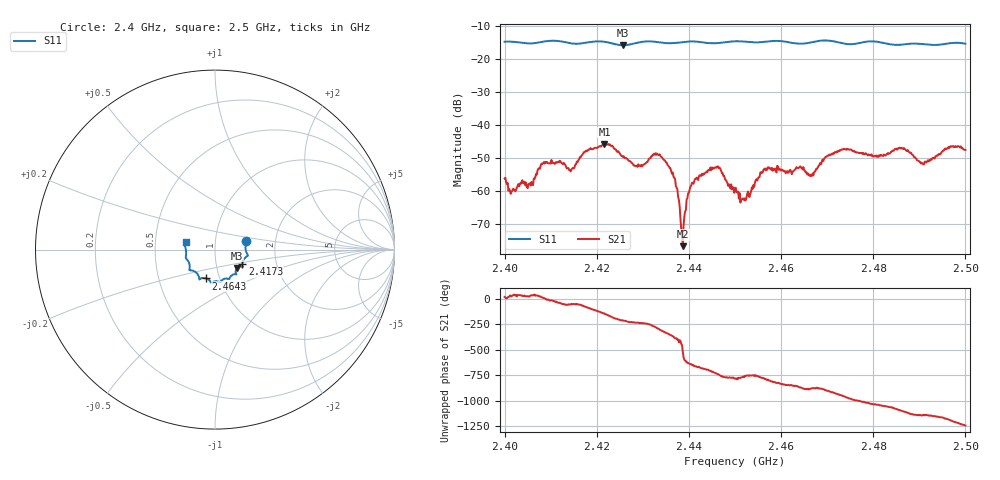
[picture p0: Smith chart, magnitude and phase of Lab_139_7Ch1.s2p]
# Hz S RI R
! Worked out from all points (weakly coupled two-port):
!   601 points, 2.4 GHz to 2.5 GHz, reference 50 ohm
!   highest |S21| = -45.75 dB at 2.4217 GHz (marker M1); lowest = -76.5 dB at 2.4387 GHz (marker M2)
!   lowest |S11| = -15.9 dB at 2.4257 GHz (marker M3), VSWR 1.38, Z = 62.4 - j13.1 ohm
!   |S11| at or under -10 dB: start of sweep to end of sweep
!   S12 and S22 are empty: the file has one direction only
!   S11 on the Smith chart (normalised r, x): 2.4 GHz: 1.41, +0.14; 2.4173 GHz: 1.34, -0.23; 2.4643 GHz: 0.86, -0.28; 2.5 GHz: 0.72, +0.06
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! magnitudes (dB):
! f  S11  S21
! 2.4 GHz  -14.9  -56.1
! 2.4018 GHz  -14.9  -59.3
! 2.4083 GHz  -14.8  -51.6
! 2.4145 GHz  -15.4  -53.4
! 2.4167 GHz  -15.4  -49.3
! 2.4173 GHz  -15.2  -48.3
! 2.4217 GHz  -14.9  -45.7
! 2.4257 GHz  -15.9  -49.6
! 2.4333 GHz  -15.0  -49.0
! 2.4365 GHz  -15.3  -54.3
! 2.4387 GHz  -15.0  -76.5
! 2.4403 GHz  -14.8  -58.6
! 2.4427 GHz  -15.0  -55.4
! 2.4463 GHz  -15.3  -52.5
! 2.45 GHz  -14.7  -58.9
! 2.4517 GHz  -14.8  -62.2
! 2.4567 GHz  -14.9  -53.7
! 2.4643 GHz  -15.5  -52.9
! 2.4667 GHz  -15.0  -55.3
! 2.4732 GHz  -15.3  -47.4
! 2.4833 GHz  -15.6  -48.7
! 2.5 GHz  -15.5  -47.5
